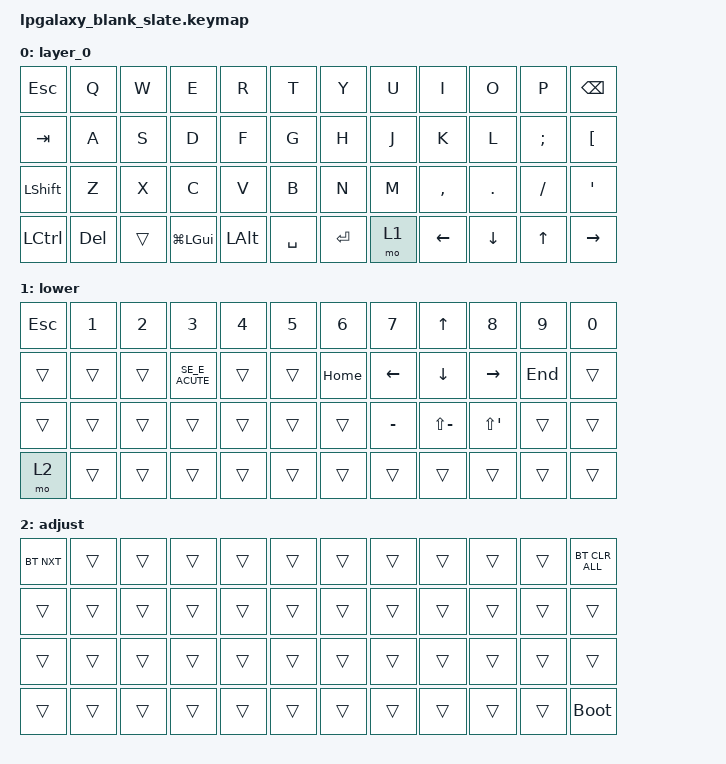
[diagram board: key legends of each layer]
#include <behaviors.dtsi>
#include <dt-bindings/zmk/bt.h>
#include <dt-bindings/zmk/keys.h>

/ {
    macros {
        SE_CARET: SE_CARET {
            compatible = "zmk,behavior-macro";
            #binding-cells = <0>;
            bindings = <&kp LS(RBKT) &kp SPACE>;
            label = "SE_CARET";
        };

        SE_E_ACUTE: SE_E_ACUTE {
            compatible = "zmk,behavior-macro";
            #binding-cells = <0>;
            bindings = <&kp LS(LBKT) &kp SPACE>;
            label = "SE_E_ACUTE";
        };
    };

    keymap {
        compatible = "zmk,keymap";

        layer_0 {
            bindings = <
&kp ESC    &kp Q   &kp W   &kp E         &kp R     &kp T      &kp Y    &kp U  &kp I      &kp O     &kp P      &kp BSPC
&kp TAB    &kp A   &kp S   &kp D         &kp F     &kp G      &kp H    &kp J  &kp K      &kp L     &kp SEMI   &kp LBKT
&kp LSHFT  &kp Z   &kp X   &kp C         &kp V     &kp B      &kp N    &kp M  &kp COMMA  &kp DOT   &kp SLASH  &kp SQT
&kp LCTRL  &kp DEL    &trans  &kp LG(LGUI)  &kp LALT  &kp SPACE  &kp RET  &mo 1  &kp LEFT   &kp DOWN  &kp UP     &kp RIGHT
            >;
        };

        lower {
            bindings = <
&kp ESC  &kp N1  &kp N2  &kp N3       &kp N4  &kp N5  &kp N6    &kp N7     &kp UP         &kp N8     &kp N9   &kp N0
&trans   &trans  &trans  &SE_E_ACUTE  &trans  &trans  &kp HOME  &kp LEFT   &kp DOWN       &kp RIGHT  &kp END  &trans
&trans   &trans  &trans  &trans       &trans  &trans  &trans    &kp MINUS  &kp LS(MINUS)  &kp LS(SQT)   &trans   &trans
&mo 2    &trans  &trans  &trans       &trans  &trans  &trans    &trans     &trans         &trans     &trans   &trans
            >;
        };

        adjust {
            bindings = <
&bt BT_NXT  &trans  &trans  &trans  &trans  &trans  &trans  &trans  &trans  &trans  &trans  &bt BT_CLR_ALL
&trans      &trans  &trans  &trans  &trans  &trans  &trans  &trans  &trans  &trans  &trans  &trans
&trans      &trans  &trans  &trans  &trans  &trans  &trans  &trans  &trans  &trans  &trans  &trans
&trans      &trans  &trans  &trans  &trans  &trans  &trans  &trans  &trans  &trans  &trans  &bootloader
            >;
        };
    };
};
